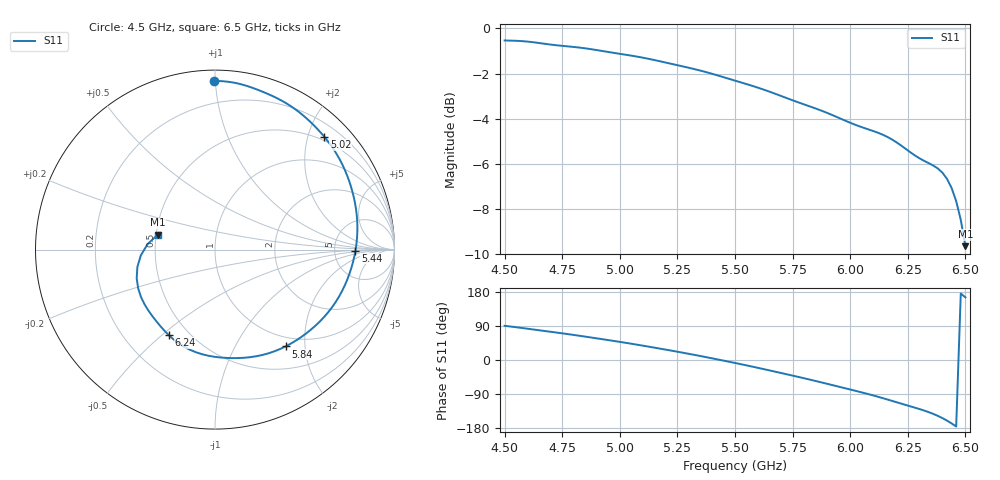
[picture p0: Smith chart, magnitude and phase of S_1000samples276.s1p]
! TOUCHSTONE file generated by CST MICROWAVE STUDIO
! Date and time: Thu Oct 27 14:42:46 2022
! Project name: L.cst
! Parameters = {Di=1.27; Epsilon_r=1.56; InnerDiameter=1.27; Length=2; Lf=10; Lg=60; OuterConductorThickness=0.2921; OuterDiameter=3.6; Wf=3; Wp=41.2; de=1.5; df=6.8; g=0.8; gx=2.99295; gy=3.50676; h=2.34; hf=1.524; px=11.5178; py=13.3176; w=9.7; wx=8.52487; wy=9.81086}
! Header version: 2018
! Port assignment regex: !\s*Touchstone port\s*([0-9]+)\s*=\s*(CST MWS port|CST DS port)\s*([0-9]+|Zmin|Zmax)\s*\(\"(.*)\"\)(\s*mode\s*([0-9]+))?.*
! Touchstone port assignment:
! Touchstone port 1 = CST MWS port 1 ("")
# GHz S DB R 50
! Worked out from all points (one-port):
!   101 points, 4.5 GHz to 6.5 GHz, reference 50 ohm
!   lowest |S11| = -9.6 dB at 6.5 GHz (marker M1), VSWR 1.98, Z = 25.5 + j4.79 ohm
!   |S11| at or under -10 dB: nowhere
!   S11 on the Smith chart (normalised r, x): 4.5 GHz: 0.06, +0.99; 5.02 GHz: 0.43, +2.30; 5.44 GHz: 8.19, -0.23; 5.84 GHz: 0.84, -1.64; 6.24 GHz: 0.39, -0.53; 6.5 GHz: 0.51, +0.10
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4.5  -0.54 90.2
4.62  -0.61 80.9
4.76  -0.78 69.5
4.88  -0.93 59.0
5  -1.13 47.8
5.02  -1.16 45.9
5.14  -1.38 33.7
5.26  -1.65 20.8
5.36  -1.90 9.3
5.44  -2.13 -0.4
5.5  -2.31 -7.8
5.62  -2.70 -23.4
5.7  -2.99 -34.3
5.76  -3.22 -42.6
5.84  -3.51 -53.9
5.92  -3.83 -65.8
6  -4.18 -77.9
6.12  -4.62 -96.9
6.18  -4.91 -107.6
6.24  -5.33 -118.5
6.26  -5.48 -122.1
6.36  -6.07 -142.1
6.4  -6.39 -153.3
6.42  -6.66 -159.9
6.44  -7.06 -167.3
6.46  -7.65 -175.6
6.48  -8.48 175.3
6.5  -9.64 165.3
